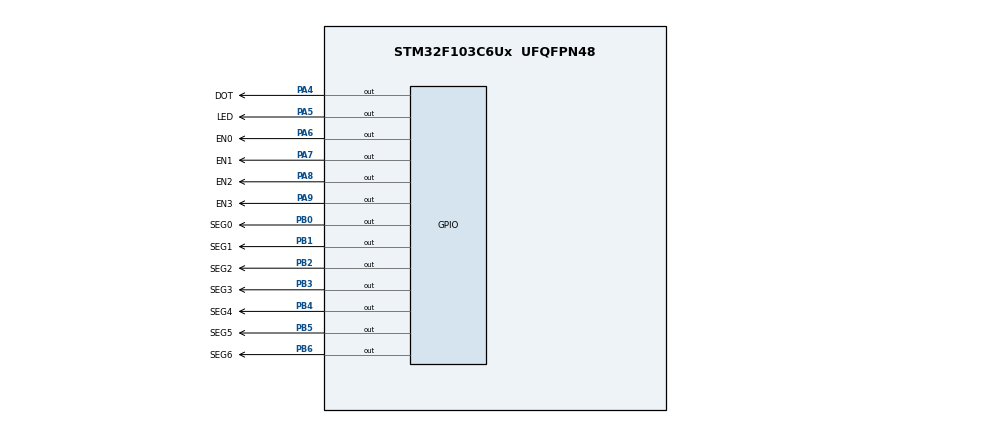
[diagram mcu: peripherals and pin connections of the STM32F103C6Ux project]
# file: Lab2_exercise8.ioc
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Mcu.Family=STM32F1
Mcu.Name=STM32F103C6Ux
Mcu.Package=UFQFPN48
NVIC.PriorityGroup=NVIC_PRIORITYGROUP_4
NVIC.TIM2_IRQn=true\:0\:0\:false\:false\:true\:true\:true
PA4.GPIO_Label=DOT
PA4.Signal=GPIO_Output
PA5.GPIO_Label=LED
PA5.Signal=GPIO_Output
PA6.GPIO_Label=EN0
PA6.Signal=GPIO_Output
PA7.GPIO_Label=EN1
PA7.Signal=GPIO_Output
PA8.GPIO_Label=EN2
PA8.Signal=GPIO_Output
PA9.GPIO_Label=EN3
PA9.Signal=GPIO_Output
PB0.GPIO_Label=SEG0
PB0.Signal=GPIO_Output
PB1.GPIO_Label=SEG1
PB1.Signal=GPIO_Output
PB2.GPIO_Label=SEG2
PB2.Signal=GPIO_Output
PB3.GPIO_Label=SEG3
PB3.Signal=GPIO_Output
PB4.GPIO_Label=SEG4
PB4.Signal=GPIO_Output
PB5.GPIO_Label=SEG5
PB5.Signal=GPIO_Output
PB6.GPIO_Label=SEG6
PB6.Signal=GPIO_Output
ProjectManager.HeapSize=0x200
ProjectManager.StackSize=0x400
ProjectManager.TargetToolchain=STM32CubeIDE
RCC.APB1Freq_Value=8000000
RCC.APB2Freq_Value=8000000
TIM2.Period=9
TIM2.Prescaler=7999
VP_SYS_VS_ND.Mode=No_Debug
VP_TIM2_VS_ClockSourceINT.Mode=Internal
board=custom

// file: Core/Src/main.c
/* USER CODE BEGIN Header */
/**
  ******************************************************************************
  * @file           : main.c
  * @brief          : Main program body
  ******************************************************************************
  * @attention
  *
  * <h2><center>&copy; Copyright (c) 2025 STMicroelectronics.
  * All rights reserved.</center></h2>
  *
  * This software component is licensed by ST under BSD 3-Clause license,
  * the "License"; You may not use this file except in compliance with the
  * License. You may obtain a copy of the License at:
  *                        opensource.org/licenses/BSD-3-Clause
  *
  ******************************************************************************
  */
/* USER CODE END Header */
#include "main.h"
#include "Ex8.h"

TIM_HandleTypeDef htim2;

void SystemClock_Config(void);
static void MX_GPIO_Init(void);
static void MX_TIM2_Init(void);

/* USER CODE BEGIN 0 */
int timer0_counter = 0;
int timer0_flag = 0;
int TIMER_CYCLE = 10;

void setTimer0(int duration){
	timer0_counter = duration / TIMER_CYCLE ;
	timer0_flag = 0;
}

void timer_run () {
	if( timer0_counter > 0) {
		timer0_counter--;
		if( timer0_counter == 0) timer0_flag = 1;	//Expired
	}
}
/* USER CODE END 0 */

int main(void)
{

  /* MCU Configuration--------------------------------------------------------*/

  /* Reset of all peripherals, Initializes the Flash interface and the Systick. */
  HAL_Init();

  /* Configure the system clock */
  SystemClock_Config();

  /* Initialize all configured peripherals */
  MX_GPIO_Init();
  MX_TIM2_Init();
  /* USER CODE BEGIN 2 */
  HAL_TIM_Base_Start_IT(&htim2);
  /* USER CODE END 2 */

  /* Infinite loop */
  /* USER CODE BEGIN WHILE */
  int hour = 15, minute = 8, second = 50;
  int index_led = 0;
  setTimer0(1000);
  while (1)
  {
    /* USER CODE END WHILE */
	  if (timer0_flag == 1){

	  		  second++;
	  		  if (second >= 60) { second = 0; minute++; }
	  		  if (minute >= 60) { minute = 0; hour++; }
	  		  if (hour >= 24)   { hour = 0; }

	  		  updateClockBuffer(hour, minute);

	  		  update7SEG(index_led);   // display one digit
	  		  index_led++;
	  		  if (index_led >= 4) index_led = 0;

	  		  HAL_GPIO_TogglePin(DOT_GPIO_Port, DOT_Pin);
	  	  		  //Not using HAL_Delay()
	  		  setTimer0(1000);
	  	  }
  }
}

void SystemClock_Config(void)
{
  RCC_OscInitTypeDef RCC_OscInitStruct = {0};
  RCC_ClkInitTypeDef RCC_ClkInitStruct = {0};

  /** Initializes the RCC Oscillators according to the specified parameters
  * in the RCC_OscInitTypeDef structure.
  */
  RCC_OscInitStruct.OscillatorType = RCC_OSCILLATORTYPE_HSI;
  RCC_OscInitStruct.HSIState = RCC_HSI_ON;
  RCC_OscInitStruct.HSICalibrationValue = RCC_HSICALIBRATION_DEFAULT;
  RCC_OscInitStruct.PLL.PLLState = RCC_PLL_NONE;
  if (HAL_RCC_OscConfig(&RCC_OscInitStruct) != HAL_OK)
  {
    Error_Handler();
  }
  /** Initializes the CPU, AHB and APB buses clocks
  */
  RCC_ClkInitStruct.ClockType = RCC_CLOCKTYPE_HCLK|RCC_CLOCKTYPE_SYSCLK
                              |RCC_CLOCKTYPE_PCLK1|RCC_CLOCKTYPE_PCLK2;
  RCC_ClkInitStruct.SYSCLKSource = RCC_SYSCLKSOURCE_HSI;
  RCC_ClkInitStruct.AHBCLKDivider = RCC_SYSCLK_DIV1;
  RCC_ClkInitStruct.APB1CLKDivider = RCC_HCLK_DIV1;
  RCC_ClkInitStruct.APB2CLKDivider = RCC_HCLK_DIV1;

  if (HAL_RCC_ClockConfig(&RCC_ClkInitStruct, FLASH_LATENCY_0) != HAL_OK)
  {
    Error_Handler();
  }
}

static void MX_TIM2_Init(void)
{

  TIM_ClockConfigTypeDef sClockSourceConfig = {0};
  TIM_MasterConfigTypeDef sMasterConfig = {0};

  htim2.Instance = TIM2;
  htim2.Init.Prescaler = 7999;
  htim2.Init.CounterMode = TIM_COUNTERMODE_UP;
  htim2.Init.Period = 9;
  htim2.Init.ClockDivision = TIM_CLOCKDIVISION_DIV1;
  htim2.Init.AutoReloadPreload = TIM_AUTORELOAD_PRELOAD_DISABLE;
  if (HAL_TIM_Base_Init(&htim2) != HAL_OK)
  {
    Error_Handler();
  }
  sClockSourceConfig.ClockSource = TIM_CLOCKSOURCE_INTERNAL;
  if (HAL_TIM_ConfigClockSource(&htim2, &sClockSourceConfig) != HAL_OK)
  {
    Error_Handler();
  }
  sMasterConfig.MasterOutputTrigger = TIM_TRGO_RESET;
  sMasterConfig.MasterSlaveMode = TIM_MASTERSLAVEMODE_DISABLE;
  if (HAL_TIMEx_MasterConfigSynchronization(&htim2, &sMasterConfig) != HAL_OK)
  {
    Error_Handler();
  }

}

static void MX_GPIO_Init(void)
{
  GPIO_InitTypeDef GPIO_InitStruct = {0};

  /* GPIO Ports Clock Enable */
  __HAL_RCC_GPIOA_CLK_ENABLE();
  __HAL_RCC_GPIOB_CLK_ENABLE();

  /*Configure GPIO pin Output Level */
  HAL_GPIO_WritePin(GPIOA, DOT_Pin|LED_Pin|EN0_Pin|EN1_Pin
                          |EN2_Pin|EN3_Pin, GPIO_PIN_RESET);

  /*Configure GPIO pin Output Level */
  HAL_GPIO_WritePin(GPIOB, SEG0_Pin|SEG1_Pin|SEG2_Pin|SEG3_Pin
                          |SEG4_Pin|SEG5_Pin|SEG6_Pin, GPIO_PIN_RESET);

  /*Configure GPIO pins : DOT_Pin LED_Pin EN0_Pin EN1_Pin
                           EN2_Pin EN3_Pin */
  GPIO_InitStruct.Pin = DOT_Pin|LED_Pin|EN0_Pin|EN1_Pin
                          |EN2_Pin|EN3_Pin;
  GPIO_InitStruct.Mode = GPIO_MODE_OUTPUT_PP;
  GPIO_InitStruct.Pull = GPIO_NOPULL;
  GPIO_InitStruct.Speed = GPIO_SPEED_FREQ_LOW;
  HAL_GPIO_Init(GPIOA, &GPIO_InitStruct);

  /*Configure GPIO pins : SEG0_Pin SEG1_Pin SEG2_Pin SEG3_Pin
                           SEG4_Pin SEG5_Pin SEG6_Pin */
  GPIO_InitStruct.Pin = SEG0_Pin|SEG1_Pin|SEG2_Pin|SEG3_Pin
                          |SEG4_Pin|SEG5_Pin|SEG6_Pin;
  GPIO_InitStruct.Mode = GPIO_MODE_OUTPUT_PP;
  GPIO_InitStruct.Pull = GPIO_NOPULL;
  GPIO_InitStruct.Speed = GPIO_SPEED_FREQ_LOW;
  HAL_GPIO_Init(GPIOB, &GPIO_InitStruct);

}

/* USER CODE BEGIN 4 */
void HAL_TIM_PeriodElapsedCallback(TIM_HandleTypeDef *htim)
{
	timer_run();
    //Use this func, we dont have to depend on the HAL_Delay(1000) from the while loop(1)
}
/* USER CODE END 4 */

void Error_Handler(void)
{
  __disable_irq();
  while (1)
  {
  }
}

/************************ (C) COPYRIGHT STMicroelectronics *****END OF FILE****/
